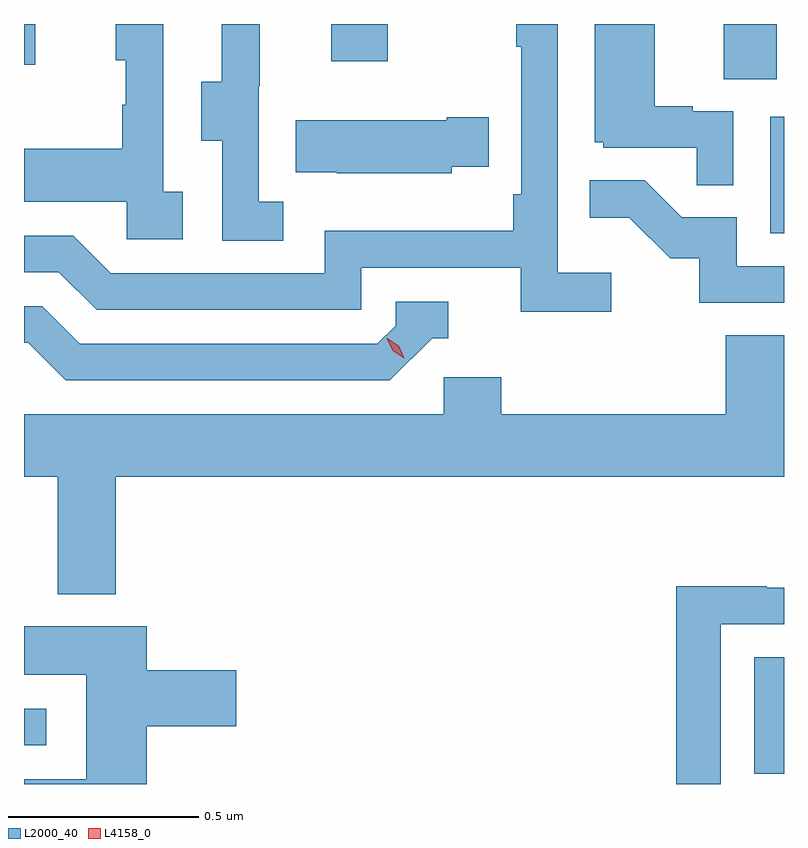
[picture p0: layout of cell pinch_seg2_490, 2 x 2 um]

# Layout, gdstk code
import gdstk
lib = gdstk.Library(unit=1e-6, precision=1e-09)
def R(c, l, rs):  # rectangles x0, y0, x1, y1
    for r in rs: c.add(gdstk.rectangle(r[:2], r[2:], *l))
def P(c, l, *ps):  # polygons
    for p in ps: c.add(gdstk.Polygon(p, *l))
L2000_40 = (2000, 40)
L4158_0 = (4158, 0)

pinch_seg2_490 = lib.new_cell('pinch_seg2_490')
R(pinch_seg2_490, L2000_40, [(952.088,590.91,952.166,591.217), (950.166,590.985,950.224,591.081), (952.13,592.332,952.166,592.639), (952.007,592.738,952.147,592.883), (950.166,592.776,950.195,592.883), (950.975,592.785,951.123,592.883)])
P(pinch_seg2_490, L2000_40, [(952.032,592.653),(951.926,592.653),(951.926,592.666),(951.826,592.666),(951.826,592.883),(951.668,592.883),(951.668,592.572),(951.69,592.572),(951.69,592.557),(951.937,592.557),(951.937,592.459),(952.032,592.459)],
  [(950.584,592.442),(950.532,592.442),(950.532,592.883),(950.408,592.883),(950.408,592.788),(950.434,592.788),(950.434,592.67),(950.424,592.67),(950.424,592.555),(950.166,592.555),(950.166,592.415),(950.436,592.415),(950.436,592.317),(950.584,592.317)],
  [(950.848,592.415),(950.784,592.415),(950.784,592.719),(950.786,592.719),(950.786,592.883),(950.687,592.883),(950.687,592.731),(950.633,592.731),(950.633,592.576),(950.688,592.576),(950.688,592.312),(950.848,592.312)],
  [(951.712,592.228),(951.57,592.228),(951.57,592.883),(951.462,592.883),(951.462,592.823),(951.474,592.823),(951.474,592.435),(951.454,592.435),(951.454,592.339),(950.958,592.339),(950.958,592.227),(950.394,592.227),(950.295,592.326),(950.166,592.326),(950.166,592.23),(950.258,592.23),(950.357,592.131),(951.054,592.131),(951.054,592.242),(951.473,592.242),(951.473,592.126),(951.712,592.126)],
  [(951.291,592.508),(951.389,592.508),(951.389,592.638),(951.278,592.638),(951.278,592.63),(950.881,592.63),(950.881,592.493),(950.989,592.493),(950.989,592.49),(951.291,592.49)],
  [(952.166,592.245),(952.041,592.245),(952.041,592.374),(951.897,592.374),(951.799,592.472),(951.655,592.472),(951.655,592.373),(951.759,592.373),(951.866,592.266),(951.943,592.266),(951.943,592.149),(952.166,592.149)],
  [(951.24,592.056),(951.283,592.056),(951.283,592.152),(951.144,592.152),(951.144,592.089),(951.096,592.041),(950.313,592.041),(950.214,592.14),(950.166,592.14),(950.166,592.044),(950.177,592.044),(950.276,591.945),(951.129,591.945)],
  [(950.408,591.692),(952.166,591.692),(952.166,592.064),(952.013,592.064),(952.013,591.856),(951.422,591.856),(951.422,591.954),(951.27,591.954),(951.27,591.856),(950.166,591.856),(950.166,591.692),(950.255,591.692),(950.255,591.383),(950.408,591.383)],
  [(951.999,591.303),(952.166,591.303),(952.166,591.399),(952.121,591.399),(952.121,591.404),(951.883,591.404),(951.883,590.883),(951.999,590.883)],
  [(950.489,591.035),(950.725,591.035),(950.725,591.182),(950.489,591.182),(950.489,591.298),(950.166,591.298),(950.166,591.17),(950.33,591.17),(950.33,590.895),(950.166,590.895),(950.166,590.883),(950.489,590.883)])
P(pinch_seg2_490, L4158_0, [(951.167,592.003),(951.137,592.023),(951.121,592.056),(951.121,592.056),(951.122,592.056),(951.152,592.036),(951.167,592.003),(951.167,592.003)])

lib.write_gds('pinch_seg2_490.gds')
